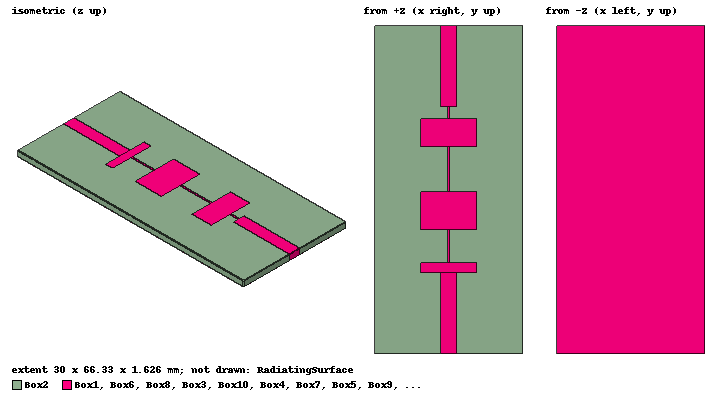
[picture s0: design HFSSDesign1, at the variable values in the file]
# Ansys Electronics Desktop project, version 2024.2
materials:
  vacuum: permittivity=1
  FR4_epoxy: permittivity=4.4 dielectric_loss_tangent=0.02
  copper: permeability=0.999991 conductivity=58000000

design HFSSDesign1 (HFSS, HFSS Terminal Network, model units mm)
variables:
  W_50 = 3.06mm
  L_50 = 16.44mm
  t = 0.0128mm
  W1 = 11.3mm
  W2 = 0.428mm
  L1 = 2.05mm
  L2 = 6.63mm
  W3 = W1
  L3 = 7.69mm
  W4 = W2
  L4 = 9.04mm
  W5 = W3
  L5 = 5.63mm
  W6 = W2
  L6 = 2.41mm
  W_diel = 30mm
  L_diel = L_50+L1+L2+L3+L4+L5+L6+L_50
  t_diel = 1.6mm
  L50 = 0
  _W3 = 0
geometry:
  Box1 [copper] = box(corner=(-W_diel/2, 0, 0mm), size=(W_diel, L_diel, t))
  coordinate_system diel_bottom = origin=(0, 0mm, t) x=(1mm, 0mm, 0mm) y=(0mm, 1mm, 0mm)
  Box2 [FR4_epoxy] = box(corner=(-W_diel/2, 0mm, 0mm), size=(W_diel, L_diel, t_diel)) in diel_bottom
  coordinate_system diel_top = origin=(0mm, 0mm, t_diel) x=(1mm, 0mm, 0mm) y=(0mm, 1mm, 0mm) in diel_bottom
  coordinate_system 50_end = origin=(0mm, L_50, 0mm) x=(1mm, 0mm, 0mm) y=(0mm, 1mm, 0mm) in diel_top
  coordinate_system C1_end = origin=(0mm, L1, 0mm) x=(1mm, 0mm, 0mm) y=(0mm, 1mm, 0mm) in 50_end
  coordinate_system L1_end = origin=(0mm, L2, 0mm) x=(1mm, 0mm, 0mm) y=(0mm, 1mm, 0mm) in C1_end
  coordinate_system C2_end = origin=(0mm, L3, 0mm) x=(1mm, 0mm, 0mm) y=(0mm, 1mm, 0mm) in L1_end
  coordinate_system L2_end = origin=(0mm, L4, 0mm) x=(1mm, 0mm, 0mm) y=(0mm, 1mm, 0mm) in C2_end
  coordinate_system C3_end = origin=(0mm, L5, 0mm) x=(1mm, 0mm, 0mm) y=(0mm, 1mm, 0mm) in L2_end
  coordinate_system L3_end = origin=(0mm, L6, 0mm) x=(1mm, 0mm, 0mm) y=(0mm, 1mm, 0mm) in C3_end
  Rectangle9 = rectangle(corner=(-W_50/2, 0mm, 0mm), z_size=t_diel+t, x_size=W_50)
  coordinate_system RelativeCS1 = origin=(0mm, L_diel, 0mm) x=(1mm, 0mm, 0mm) y=(0mm, 1mm, 0mm)
  Rectangle10 = rectangle(corner=(-W_50/2, 0mm, 0mm), z_size=t_diel+t, x_size=W_50) in RelativeCS1
  Box3 [copper] = box(corner=(-W_50/2, 0mm, 0mm), size=(W_50, L_50, t)) in diel_top
  Box4 [copper] = box(corner=(-W1/2, 0mm, 0mm), size=(W1, L1, t)) in 50_end
  Box5 [copper] = box(corner=(-W2/2, 0mm, 0mm), size=(W2, L2, t)) in C1_end
  Box6 [copper] = box(corner=(-W3/2, 0mm, 0mm), size=(W3, L3, t)) in L1_end
  Box7 [copper] = box(corner=(-W4/2, 0mm, 0mm), size=(W4, L4, t)) in C2_end
  Box8 [copper] = box(corner=(-W5/2, 0mm, 0mm), size=(W5, L5, t)) in L2_end
  Box9 [copper] = box(corner=(-W6/2, 0mm, 0mm), size=(W6, L6, t)) in C3_end
  Box10 [copper] = box(corner=(-W_50/2, 0mm, 0mm), size=(W_50, L_50, t)) in L3_end
  RadiatingSurface [vacuum] = region(absolute_offset=40mm on all sides) in L3_end
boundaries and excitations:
  Open1: Radiation Objects=RadiatingSurface
  1: Lumped Port Objects=Rectangle9 LumpedPortType=Modal Modes{Mode1{IntLine{(0, 0, 0.0128) -> (0, 0, 1.6128)} CharImp=Zpi}} Impedance=50ohm
  2: Lumped Port Objects=Rectangle10 LumpedPortType=Modal Modes{Mode1{IntLine{(0, 66.33, 0) -> (0, 66.33, 1.6128)} CharImp=Zpi}} Impedance=50ohm
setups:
  Setup1: HfssDriven MultipleAdaptiveFreqsSetup{Low=0.1GHz High=5GHz} MaxDeltaS=0.02 MaximumPasses=6 MinimumPasses=1 MinimumConvergedPasses=1 PercentRefinement=30 BasisOrder=1 PortAccuracy=2 DrivenSolverType="Direct Solver"
    sweep Sweep: 0.1GHz to 5GHz, 401 points; Type=Interpolating InterpTolerance=0.5 InterpMaxSolns=250 PassivityErrorTolerance=0.0001
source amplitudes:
  1:1: 1V 0deg
  2:1: 0V 0deg
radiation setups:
  3D: Infinite Sphere Theta=0deg..180deg step 2deg Phi=-180deg..180deg step 2deg CoordSystem=L3_end
  Elevation: Infinite Sphere Theta=-180deg..180deg step 1deg Phi=0deg..90deg step 90deg CoordSystem=L3_end
  Azimuth: Infinite Sphere Theta=90deg..90deg step 0deg Phi=-180deg..180deg step 1deg CoordSystem=L3_end
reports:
  Terminal S Parameter Plot 1: dB(St(1,1)), dB(St(1,2)) vs Freq on Setup1 : Sweep; markers MX1 at x=2.5035162e+09
